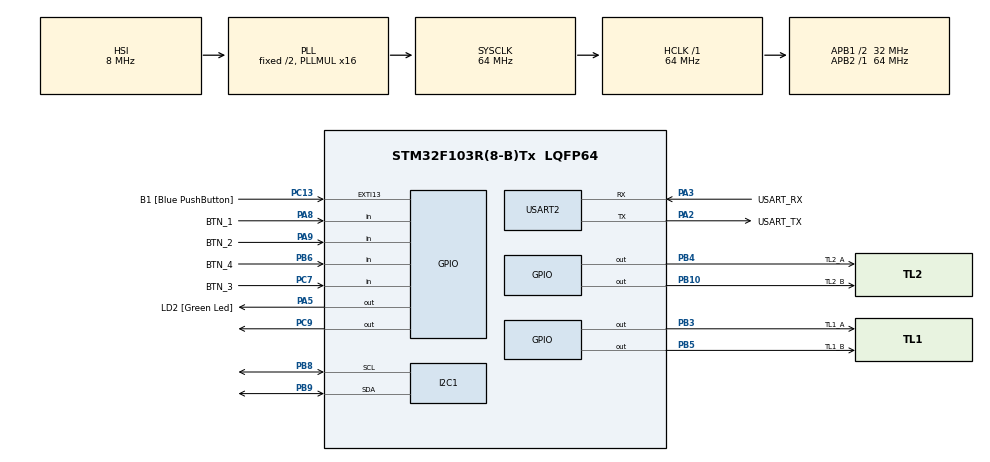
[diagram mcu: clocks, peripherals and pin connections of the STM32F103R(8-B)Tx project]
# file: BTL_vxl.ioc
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Mcu.Family=STM32F1
Mcu.Name=STM32F103R(8-B)Tx
Mcu.Package=LQFP64
NVIC.EXTI15_10_IRQn=true\:0\:0\:false\:false\:true\:true\:true
NVIC.PriorityGroup=NVIC_PRIORITYGROUP_4
NVIC.TIM2_IRQn=true\:0\:0\:false\:false\:true\:true\:true
PA13.GPIO_Label=TMS
PA13.Mode=Serial_Wire
PA13.Signal=SYS_JTMS-SWDIO
PA14.GPIO_Label=TCK
PA14.Mode=Serial_Wire
PA14.Signal=SYS_JTCK-SWCLK
PA2.GPIO_Label=USART_TX
PA2.GPIO_Mode=GPIO_MODE_AF_PP
PA2.GPIO_PuPd=GPIO_NOPULL
PA2.GPIO_Speed=GPIO_SPEED_FREQ_LOW
PA2.Mode=Asynchronous
PA2.Signal=USART2_TX
PA3.GPIO_Label=USART_RX
PA3.GPIO_Mode=GPIO_MODE_AF_PP
PA3.GPIO_PuPd=GPIO_NOPULL
PA3.GPIO_Speed=GPIO_SPEED_FREQ_LOW
PA3.Mode=Asynchronous
PA3.Signal=USART2_RX
PA5.GPIO_Label=LD2 [Green Led]
PA5.GPIO_ModeDefaultOutputPP=GPIO_MODE_OUTPUT_PP
PA5.GPIO_PuPd=GPIO_NOPULL
PA5.GPIO_Speed=GPIO_SPEED_FREQ_LOW
PA5.Signal=GPIO_Output
PA8.GPIO_Label=BTN_1
PA8.Signal=GPIO_Input
PA9.GPIO_Label=BTN_2
PA9.Signal=GPIO_Input
PB10.GPIO_Label=TL2_B
PB10.Signal=GPIO_Output
PB3.GPIO_Label=TL1_A
PB3.Signal=GPIO_Output
PB4.GPIO_Label=TL2_A
PB4.Signal=GPIO_Output
PB5.GPIO_Label=TL1_B
PB5.Signal=GPIO_Output
PB6.GPIO_Label=BTN_4
PB6.Signal=GPIO_Input
PB8.Mode=I2C
PB8.Signal=I2C1_SCL
PB9.Mode=I2C
PB9.Signal=I2C1_SDA
PC13-TAMPER-RTC.GPIO_Label=B1 [Blue PushButton]
PC13-TAMPER-RTC.GPIO_PuPd=GPIO_NOPULL
PC13-TAMPER-RTC.Signal=GPXTI13
PC14-OSC32_IN.Mode=LSE-External-Oscillator
PC14-OSC32_IN.Signal=RCC_OSC32_IN
PC15-OSC32_OUT.Mode=LSE-External-Oscillator
PC15-OSC32_OUT.Signal=RCC_OSC32_OUT
PC7.GPIO_Label=BTN_3
PC7.Signal=GPIO_Input
PC9.Signal=GPIO_Output
PD0-OSC_IN.Mode=HSE-External-Clock-Source
PD0-OSC_IN.Signal=RCC_OSC_IN
PD1-OSC_OUT.Mode=HSE-External-Clock-Source
PD1-OSC_OUT.Signal=RCC_OSC_OUT
ProjectManager.HeapSize=0x200
ProjectManager.StackSize=0x400
ProjectManager.TargetToolchain=STM32CubeIDE
RCC.AHBFreq_Value=64000000
RCC.APB1CLKDivider=RCC_HCLK_DIV2
RCC.APB1Freq_Value=32000000
RCC.APB1TimFreq_Value=64000000
RCC.APB2Freq_Value=64000000
RCC.APB2TimFreq_Value=64000000
RCC.HCLKFreq_Value=64000000
RCC.PLLMUL=RCC_PLL_MUL16
RCC.RTCClockSelection=RCC_RTCCLKSOURCE_LSE
RCC.SYSCLKFreq_VALUE=64000000
RCC.SYSCLKSource=RCC_SYSCLKSOURCE_PLLCLK
RCC.USBFreq_Value=64000000
TIM2.Period=9
TIM2.Prescaler=6399
USART2.VirtualMode=VM_ASYNC
VP_TIM2_VS_ClockSourceINT.Mode=Internal
board=NUCLEO-F103RB

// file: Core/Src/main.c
/* USER CODE BEGIN Header */
/**
  ******************************************************************************
  * @file           : main.c
  * @brief          : Main program body
  ******************************************************************************
  * @attention
  *
  * <h2><center>&copy; Copyright (c) 2026 STMicroelectronics.
  * All rights reserved.</center></h2>
  *
  * This software component is licensed by ST under BSD 3-Clause license,
  * the "License"; You may not use this file except in compliance with the
  * License. You may obtain a copy of the License at:
  *                        opensource.org/licenses/BSD-3-Clause
  *
  ******************************************************************************
  */
/* USER CODE END Header */
#include "main.h"

/* USER CODE BEGIN Includes */
#include "global.h"
#include "scheduler.h"
#include "software_timer.h"
#include "fsm_automatic.h"
#include "button.h"
#include "traffic_light.h"
#include "fsm_manual.h"
#include "dht20.h"
#include "lcd.h"
#include "fsm_tuning.h"
/* USER CODE END Includes */

I2C_HandleTypeDef hi2c1;

TIM_HandleTypeDef htim2;

UART_HandleTypeDef huart2;

void SystemClock_Config(void);
static void MX_GPIO_Init(void);
static void MX_USART2_UART_Init(void);
static void MX_I2C1_Init(void);
static void MX_TIM2_Init(void);
/* USER CODE BEGIN PFP */
__attribute__((weak)) void button_reading(void) {}
__attribute__((weak)) void fsm_manual_run(void) {}
__attribute__((weak)) void fsm_tuning_run(void) {}
__attribute__((weak)) void dht20_init(void) {}
__attribute__((weak)) void dht20_read(void) {}
__attribute__((weak)) void lcd_init(void) {}
__attribute__((weak)) void lcd_update_display(void) {}

void task_heartbeat_led(void) {
    HAL_GPIO_TogglePin(GPIOA, GPIO_PIN_5); // Chớp tắt LED PA5 mỗi 500ms
}
/* USER CODE END PFP */

int main(void)
{

  /* MCU Configuration--------------------------------------------------------*/

  /* Reset of all peripherals, Initializes the Flash interface and the Systick. */
  HAL_Init();

  /* Configure the system clock */
  SystemClock_Config();

  /* Initialize all configured peripherals */
  MX_GPIO_Init();
  MX_USART2_UART_Init();
  MX_I2C1_Init();
  MX_TIM2_Init();
  /* USER CODE BEGIN 2 */
  HAL_TIM_Base_Start_IT(&htim2);
    SCH_Init();
    dht20_init();
    lcd_init();

    /* Đăng ký các tác vụ định kỳ vào bộ lập lịch O(1) (Đơn vị: ms) */
    SCH_Add_Task(button_reading,     0,   10);   // Quét nút nhấn mỗi 10ms
    SCH_Add_Task(timerRun,           0,   10);   // Cập nhật software timer mỗi 10ms
    SCH_Add_Task(fsm_automatic_run,  10,  10);   // Chạy FSM Auto mỗi 10ms
    SCH_Add_Task(fsm_manual_run,     10,  10);   // Chạy FSM Manual mỗi 10ms
    SCH_Add_Task(fsm_tuning_run,     10,  10);   // Chạy FSM Tuning mỗi 10ms
    SCH_Add_Task(lcd_update_display, 50,  250);  // Cập nhật màn hình LCD mỗi 250ms
    SCH_Add_Task(task_heartbeat_led, 0,   500);  // Chớp LED PA5 mỗi 500ms
    SCH_Add_Task(dht20_read,         100, 2000); // Đọc cảm biến DHT20 mỗi 2 giây

    /* Kích hoạt ngắt Timer 2 (10ms) */
    HAL_TIM_Base_Start_IT(&htim2);
    /* USER CODE END 2 */

    /* Infinite loop */
    /* USER CODE BEGIN WHILE */
    while (1)
    {
      SCH_Dispatch_Tasks();
      /* USER CODE END WHILE */

    }
    /* USER CODE BEGIN 4 */
    void HAL_TIM_PeriodElapsedCallback(TIM_HandleTypeDef *htim) {
        if (htim->Instance == TIM2) {
            SCH_Update();
        }
    }
    /* USER CODE END 4 */
}

void SystemClock_Config(void)
{
  RCC_OscInitTypeDef RCC_OscInitStruct = {0};
  RCC_ClkInitTypeDef RCC_ClkInitStruct = {0};

  /** Initializes the RCC Oscillators according to the specified parameters
  * in the RCC_OscInitTypeDef structure.
  */
  RCC_OscInitStruct.OscillatorType = RCC_OSCILLATORTYPE_HSI;
  RCC_OscInitStruct.HSIState = RCC_HSI_ON;
  RCC_OscInitStruct.HSICalibrationValue = RCC_HSICALIBRATION_DEFAULT;
  RCC_OscInitStruct.PLL.PLLState = RCC_PLL_ON;
  RCC_OscInitStruct.PLL.PLLSource = RCC_PLLSOURCE_HSI_DIV2;
  RCC_OscInitStruct.PLL.PLLMUL = RCC_PLL_MUL16;
  if (HAL_RCC_OscConfig(&RCC_OscInitStruct) != HAL_OK)
  {
    Error_Handler();
  }
  /** Initializes the CPU, AHB and APB buses clocks
  */
  RCC_ClkInitStruct.ClockType = RCC_CLOCKTYPE_HCLK|RCC_CLOCKTYPE_SYSCLK
                              |RCC_CLOCKTYPE_PCLK1|RCC_CLOCKTYPE_PCLK2;
  RCC_ClkInitStruct.SYSCLKSource = RCC_SYSCLKSOURCE_PLLCLK;
  RCC_ClkInitStruct.AHBCLKDivider = RCC_SYSCLK_DIV1;
  RCC_ClkInitStruct.APB1CLKDivider = RCC_HCLK_DIV2;
  RCC_ClkInitStruct.APB2CLKDivider = RCC_HCLK_DIV1;

  if (HAL_RCC_ClockConfig(&RCC_ClkInitStruct, FLASH_LATENCY_2) != HAL_OK)
  {
    Error_Handler();
  }
}

static void MX_I2C1_Init(void)
{

  hi2c1.Instance = I2C1;
  hi2c1.Init.ClockSpeed = 100000;
  hi2c1.Init.DutyCycle = I2C_DUTYCYCLE_2;
  hi2c1.Init.OwnAddress1 = 0;
  hi2c1.Init.AddressingMode = I2C_ADDRESSINGMODE_7BIT;
  hi2c1.Init.DualAddressMode = I2C_DUALADDRESS_DISABLE;
  hi2c1.Init.OwnAddress2 = 0;
  hi2c1.Init.GeneralCallMode = I2C_GENERALCALL_DISABLE;
  hi2c1.Init.NoStretchMode = I2C_NOSTRETCH_DISABLE;
  if (HAL_I2C_Init(&hi2c1) != HAL_OK)
  {
    Error_Handler();
  }

}

static void MX_TIM2_Init(void)
{

  TIM_ClockConfigTypeDef sClockSourceConfig = {0};
  TIM_MasterConfigTypeDef sMasterConfig = {0};

  htim2.Instance = TIM2;
  htim2.Init.Prescaler = 6399;
  htim2.Init.CounterMode = TIM_COUNTERMODE_UP;
  htim2.Init.Period = 9;
  htim2.Init.ClockDivision = TIM_CLOCKDIVISION_DIV1;
  htim2.Init.AutoReloadPreload = TIM_AUTORELOAD_PRELOAD_DISABLE;
  if (HAL_TIM_Base_Init(&htim2) != HAL_OK)
  {
    Error_Handler();
  }
  sClockSourceConfig.ClockSource = TIM_CLOCKSOURCE_INTERNAL;
  if (HAL_TIM_ConfigClockSource(&htim2, &sClockSourceConfig) != HAL_OK)
  {
    Error_Handler();
  }
  sMasterConfig.MasterOutputTrigger = TIM_TRGO_RESET;
  sMasterConfig.MasterSlaveMode = TIM_MASTERSLAVEMODE_DISABLE;
  if (HAL_TIMEx_MasterConfigSynchronization(&htim2, &sMasterConfig) != HAL_OK)
  {
    Error_Handler();
  }

}

static void MX_USART2_UART_Init(void)
{

  huart2.Instance = USART2;
  huart2.Init.BaudRate = 115200;
  huart2.Init.WordLength = UART_WORDLENGTH_8B;
  huart2.Init.StopBits = UART_STOPBITS_1;
  huart2.Init.Parity = UART_PARITY_NONE;
  huart2.Init.Mode = UART_MODE_TX_RX;
  huart2.Init.HwFlowCtl = UART_HWCONTROL_NONE;
  huart2.Init.OverSampling = UART_OVERSAMPLING_16;
  if (HAL_UART_Init(&huart2) != HAL_OK)
  {
    Error_Handler();
  }

}

static void MX_GPIO_Init(void)
{
  GPIO_InitTypeDef GPIO_InitStruct = {0};

  /* GPIO Ports Clock Enable */
  __HAL_RCC_GPIOC_CLK_ENABLE();
  __HAL_RCC_GPIOD_CLK_ENABLE();
  __HAL_RCC_GPIOA_CLK_ENABLE();
  __HAL_RCC_GPIOB_CLK_ENABLE();

  /*Configure GPIO pin Output Level */
  HAL_GPIO_WritePin(LD2_GPIO_Port, LD2_Pin, GPIO_PIN_RESET);

  /*Configure GPIO pin Output Level */
  HAL_GPIO_WritePin(GPIOB, TL2_B_Pin|TL1_A_Pin|TL2_A_Pin|TL1_B_Pin, GPIO_PIN_RESET);

  /*Configure GPIO pin Output Level */
  HAL_GPIO_WritePin(GPIOC, GPIO_PIN_9, GPIO_PIN_RESET);

  /*Configure GPIO pin : B1_Pin */
  GPIO_InitStruct.Pin = B1_Pin;
  GPIO_InitStruct.Mode = GPIO_MODE_IT_RISING;
  GPIO_InitStruct.Pull = GPIO_NOPULL;
  HAL_GPIO_Init(B1_GPIO_Port, &GPIO_InitStruct);

  /*Configure GPIO pin : LD2_Pin */
  GPIO_InitStruct.Pin = LD2_Pin;
  GPIO_InitStruct.Mode = GPIO_MODE_OUTPUT_PP;
  GPIO_InitStruct.Pull = GPIO_NOPULL;
  GPIO_InitStruct.Speed = GPIO_SPEED_FREQ_LOW;
  HAL_GPIO_Init(LD2_GPIO_Port, &GPIO_InitStruct);

  /*Configure GPIO pins : TL2_B_Pin TL1_A_Pin TL2_A_Pin TL1_B_Pin */
  GPIO_InitStruct.Pin = TL2_B_Pin|TL1_A_Pin|TL2_A_Pin|TL1_B_Pin;
  GPIO_InitStruct.Mode = GPIO_MODE_OUTPUT_PP;
  GPIO_InitStruct.Pull = GPIO_NOPULL;
  GPIO_InitStruct.Speed = GPIO_SPEED_FREQ_LOW;
  HAL_GPIO_Init(GPIOB, &GPIO_InitStruct);

  /*Configure GPIO pin : BTN_3_Pin */
  GPIO_InitStruct.Pin = BTN_3_Pin;
  GPIO_InitStruct.Mode = GPIO_MODE_INPUT;
  GPIO_InitStruct.Pull = GPIO_NOPULL;
  HAL_GPIO_Init(BTN_3_GPIO_Port, &GPIO_InitStruct);

  /*Configure GPIO pin : PC9 */
  GPIO_InitStruct.Pin = GPIO_PIN_9;
  GPIO_InitStruct.Mode = GPIO_MODE_OUTPUT_PP;
  GPIO_InitStruct.Pull = GPIO_NOPULL;
  GPIO_InitStruct.Speed = GPIO_SPEED_FREQ_LOW;
  HAL_GPIO_Init(GPIOC, &GPIO_InitStruct);

  /*Configure GPIO pins : BTN_1_Pin BTN_2_Pin */
  GPIO_InitStruct.Pin = BTN_1_Pin|BTN_2_Pin;
  GPIO_InitStruct.Mode = GPIO_MODE_INPUT;
  GPIO_InitStruct.Pull = GPIO_NOPULL;
  HAL_GPIO_Init(GPIOA, &GPIO_InitStruct);

  /*Configure GPIO pin : BTN_4_Pin */
  GPIO_InitStruct.Pin = BTN_4_Pin;
  GPIO_InitStruct.Mode = GPIO_MODE_INPUT;
  GPIO_InitStruct.Pull = GPIO_NOPULL;
  HAL_GPIO_Init(BTN_4_GPIO_Port, &GPIO_InitStruct);

  /* EXTI interrupt init*/
  HAL_NVIC_SetPriority(EXTI15_10_IRQn, 0, 0);
  HAL_NVIC_EnableIRQ(EXTI15_10_IRQn);

}

/* USER CODE BEGIN 4 */
void HAL_TIM_PeriodElapsedCallback(TIM_HandleTypeDef *htim) {
    if (htim->Instance == TIM2) {
        // SCH_Update();
        // timerRun();
    }
}
/* USER CODE END 4 */

void Error_Handler(void)
{
  __disable_irq();
  while (1)
  {
  }
}

/************************ (C) COPYRIGHT STMicroelectronics *****END OF FILE****/
